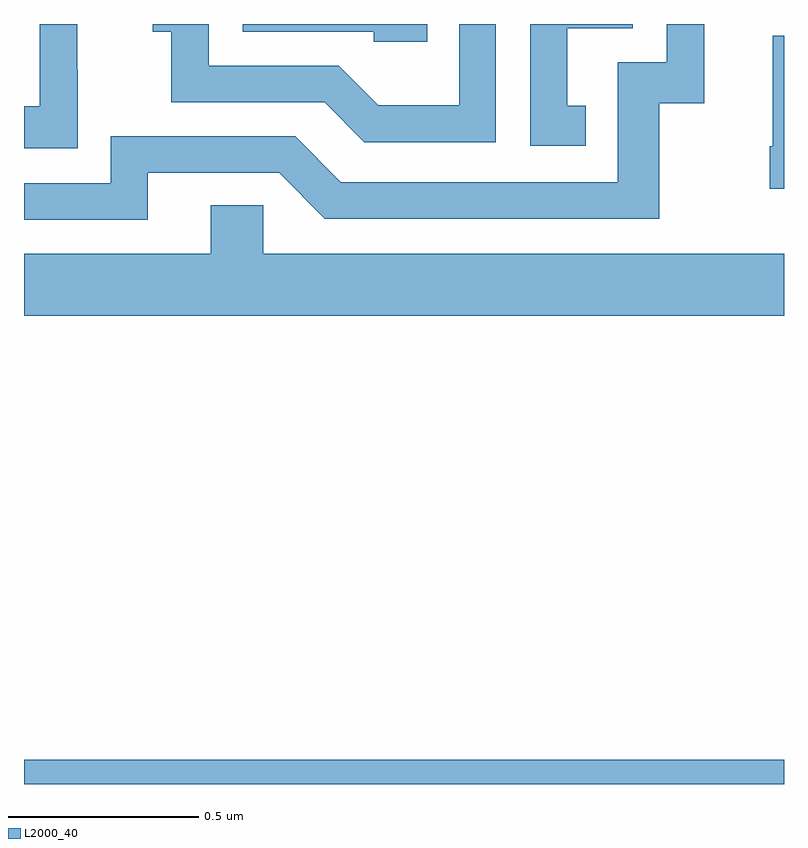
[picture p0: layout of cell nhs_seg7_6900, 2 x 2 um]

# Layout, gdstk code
import gdstk
lib = gdstk.Library(unit=1e-6, precision=1e-09)
def R(c, l, rs):  # rectangles x0, y0, x1, y1
    for r in rs: c.add(gdstk.rectangle(r[:2], r[2:], *l))
def P(c, l, *ps):  # polygons
    for p in ps: c.add(gdstk.Polygon(p, *l))
L2000_40 = (2000, 40)

nhs_seg7_6900 = lib.new_cell('nhs_seg7_6900')
R(nhs_seg7_6900, L2000_40, [(204,1050,206,1050.064)])
P(nhs_seg7_6900, L2000_40, [(204.141,1051.879),(204.14,1051.879),(204.14,1052),(204.041,1052),(204.041,1051.783),(204,1051.783),(204,1051.673),(204.141,1051.673)],
  [(205.061,1052),(204.576,1052),(204.576,1051.98),(204.921,1051.98),(204.921,1051.953),(205.061,1051.953)],
  [(205.478,1051.785),(205.429,1051.785),(205.429,1051.989),(205.602,1051.989),(205.602,1052),(205.332,1052),(205.332,1051.68),(205.478,1051.68)],
  [(205.242,1052),(205.146,1052),(205.146,1051.786),(204.932,1051.786),(204.828,1051.89),(204.486,1051.89),(204.486,1052),(204.339,1052),(204.339,1051.979),(204.388,1051.979),(204.388,1051.794),(204.791,1051.794),(204.896,1051.689),(205.242,1051.689)],
  [(204.325,1051.608),(204.672,1051.608),(204.792,1051.488),(205.672,1051.488),(205.672,1051.791),(205.79,1051.791),(205.79,1052),(205.692,1052),(205.692,1051.899),(205.563,1051.899),(205.563,1051.584),(204.834,1051.584),(204.714,1051.704),(204.228,1051.704),(204.228,1051.581),(204,1051.581),(204,1051.485),(204.325,1051.485)],
  [(206,1051.969),(205.97,1051.969),(205.97,1051.678),(205.963,1051.678),(205.963,1051.566),(206,1051.566)],
  [(206,1051.396),(204.63,1051.396),(204.63,1051.523),(204.491,1051.523),(204.491,1051.396),(204,1051.396),(204,1051.232),(206,1051.232)])

lib.write_gds('nhs_seg7_6900.gds')
